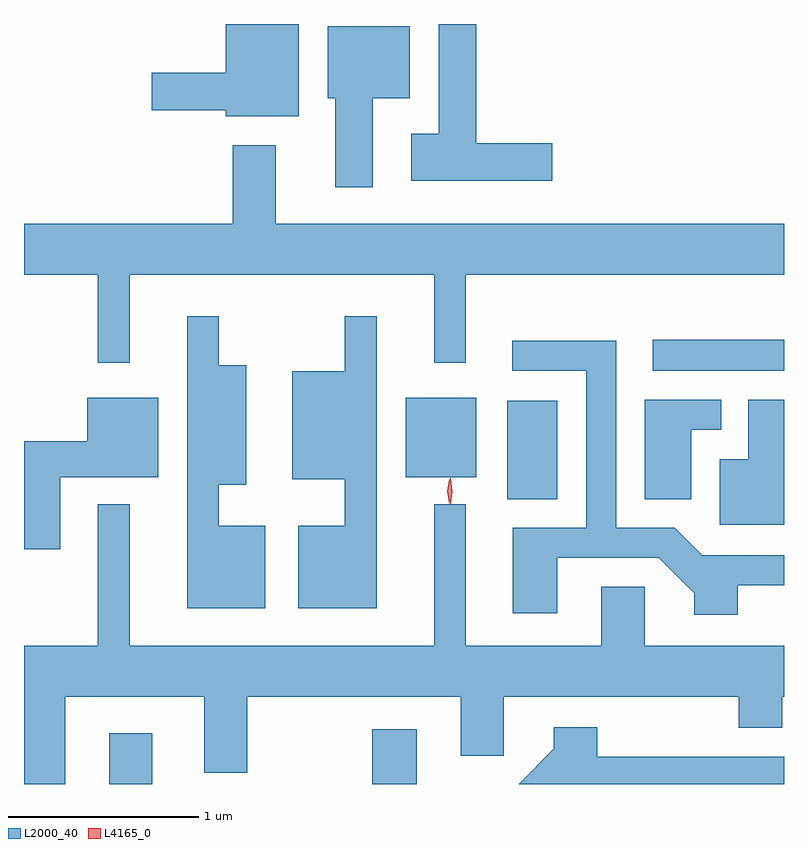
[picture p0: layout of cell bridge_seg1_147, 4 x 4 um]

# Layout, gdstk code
import gdstk
lib = gdstk.Library(unit=1e-6, precision=1e-09)
def R(c, l, rs):  # rectangles x0, y0, x1, y1
    for r in rs: c.add(gdstk.rectangle(r[:2], r[2:], *l))
def P(c, l, *ps):  # polygons
    for p in ps: c.add(gdstk.Polygon(p, *l))
L2000_40 = (2000, 40)
L4165_0 = (4165, 0)

bridge_seg1_147 = lib.new_cell('bridge_seg1_147')
R(bridge_seg1_147, L2000_40, [(925.071,945.736,925.299,946.004), (926.456,945.736,926.689,946.024), (927.166,947.236,927.429,947.754), (926.631,947.351,927.004,947.769), (927.933,947.911,928.623,948.074)])
P(bridge_seg1_147, L2000_40, [(927.404,949.109),(927.004,949.109),(927.004,949.736),(926.806,949.736),(926.806,949.159),(926.661,949.159),(926.661,948.911),(927.404,948.911)],
  [(926.069,949.736),(925.686,949.736),(925.686,949.479),(925.296,949.479),(925.296,949.281),(925.686,949.281),(925.686,949.251),(926.069,949.251)],
  [(926.459,949.346),(926.654,949.346),(926.654,949.724),(926.221,949.724),(926.221,949.346),(926.261,949.346),(926.261,948.876),(926.459,948.876)],
  [(925.179,948.416),(926.781,948.416),(926.781,947.953),(926.949,947.953),(926.949,948.416),(928.623,948.416),(928.623,948.684),(925.949,948.684),(925.949,949.099),(925.721,949.099),(925.721,948.684),(924.623,948.684),(924.623,948.416),(925.011,948.416),(925.011,947.953),(925.179,947.953)],
  [(926.479,948.198),(926.311,948.198),(926.311,947.909),(926.036,947.909),(926.036,947.341),(926.311,947.341),(926.311,947.094),(926.066,947.094),(926.066,946.661),(926.479,946.661)],
  [(925.894,947.094),(925.649,947.094),(925.649,947.311),(925.794,947.311),(925.794,947.939),(925.649,947.939),(925.649,948.198),(925.481,948.198),(925.481,946.661),(925.894,946.661)],
  [(928.379,946.781),(928.623,946.781),(928.623,946.939),(928.192,946.939),(928.047,947.084),(927.739,947.084),(927.739,948.069),(927.193,948.069),(927.193,947.911),(927.581,947.911),(927.581,947.084),(927.196,947.084),(927.196,946.636),(927.429,946.636),(927.429,946.926),(927.964,946.926),(928.151,946.739),(928.151,946.626),(928.379,946.626)],
  [(924.814,947.351),(925.329,947.351),(925.329,947.769),(924.956,947.769),(924.956,947.539),(924.623,947.539),(924.623,946.971),(924.814,946.971)],
  [(928.134,947.601),(928.293,947.601),(928.293,947.759),(927.891,947.759),(927.891,947.236),(928.134,947.236)],
  [(928.623,947.759),(928.436,947.759),(928.436,947.444),(928.286,947.444),(928.286,947.101),(928.623,947.101)],
  [(924.839,946.196),(925.571,946.196),(925.571,945.796),(925.799,945.796),(925.799,946.196),(926.921,946.196),(926.921,945.886),(927.149,945.886),(927.149,946.196),(928.386,946.196),(928.386,946.031),(928.614,946.031),(928.614,946.196),(928.623,946.196),(928.623,946.464),(927.889,946.464),(927.889,946.774),(927.661,946.774),(927.661,946.464),(926.949,946.464),(926.949,947.208),(926.781,947.208),(926.781,946.464),(925.179,946.464),(925.179,947.208),(925.011,947.208),(925.011,946.464),(924.623,946.464),(924.623,945.736),(924.839,945.736)],
  [(928.623,945.879),(927.639,945.879),(927.639,946.034),(927.411,946.034),(927.411,945.922),(927.226,945.736),(928.623,945.736)])
P(bridge_seg1_147, L4165_0, [(926.867,947.209),(926.867,947.21),(926.857,947.278),(926.867,947.346),(926.867,947.346),(926.868,947.346),(926.877,947.278),(926.868,947.21)],
  [(926.861,947.213),(926.861,947.213),(926.851,947.277),(926.86,947.341),(926.861,947.342),(926.861,947.341),(926.871,947.277),(926.862,947.213)])

lib.write_gds('bridge_seg1_147.gds')
